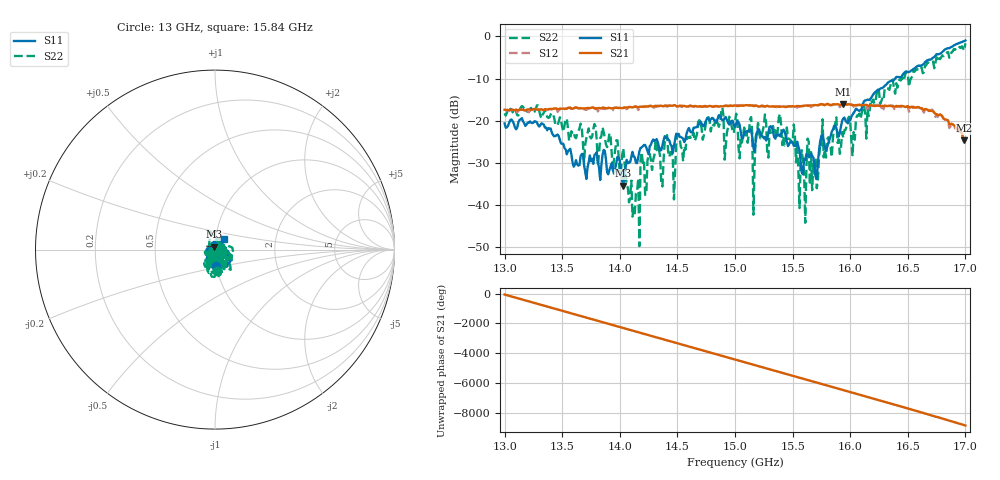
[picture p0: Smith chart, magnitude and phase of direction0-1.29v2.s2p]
!Keysight Technologies,P9374A,MY57211810,A.19.30.04
!Date: Friday, May 02, 2025 10:35:46
!Correction: S11(C* 2-Port  )
!S21(C* 2-Port  )
!S12(C* 2-Port  )
!S22(C* 2-Port  )
!S2P File: Measurements: S11, S21, S12, S22:
# Hz S  dB  R 50
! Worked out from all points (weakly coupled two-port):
!   401 points, 13 GHz to 17 GHz, reference 50 ohm
!   highest |S21| = -16.01 dB at 15.94 GHz (marker M1); lowest = -24.7 dB at 16.99 GHz (marker M2)
!   lowest |S11| = -35.4 dB at 14.03 GHz (marker M3), VSWR 1.03, Z = 49.3 + j1.54 ohm
!   |S11| at or under -10 dB: start of sweep to 16.39 GHz
!   |S22| runs from -49.7 to -1.7 dB; largest |S21 - S12| = 0.018
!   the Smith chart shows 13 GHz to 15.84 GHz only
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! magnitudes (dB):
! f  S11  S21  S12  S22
! 13 GHz  -20.6  -17.4  -17.3  -18.2
! 13.34 GHz  -20.9  -17.5  -17.9  -18.1
! 13.67 GHz  -27.9  -17.0  -17.0  -21.7
! 14.03 GHz  -35.4  -17.0  -16.8  -26.5
! 14.15 GHz  -30.1  -16.8  -16.7  -36.7
! 14.2 GHz  -26.0  -16.7  -16.6  -30.0
! 14.34 GHz  -26.2  -16.6  -16.5  -26.9
! 14.46 GHz  -27.7  -16.4  -16.3  -28.7
! 14.51 GHz  -23.1  -16.6  -16.5  -23.2
! 15 GHz  -21.5  -16.4  -16.5  -20.4
! 15.05 GHz  -22.6  -16.4  -16.5  -23.9
! 15.13 GHz  -22.0  -16.4  -16.3  -19.7
! 15.17 GHz  -27.3  -16.5  -16.4  -30.3
! 15.2 GHz  -21.9  -16.6  -16.6  -20.5
! 15.38 GHz  -23.2  -16.7  -16.6  -19.2
! 15.67 GHz  -28.3  -16.4  -16.6  -36.4
! 15.71 GHz  -33.8  -16.3  -16.5  -36.0
! 15.75 GHz  -23.5  -16.0  -16.1  -26.3
! 15.94 GHz  -19.5  -16.0  -16.2  -24.0
! 16.34 GHz  -10.7  -16.4  -16.5  -12.7
! 16.99 GHz  -1.1  -24.7  -25.4  -3.4
! 17 GHz  -1.0  -24.2  -24.3  -1.7
